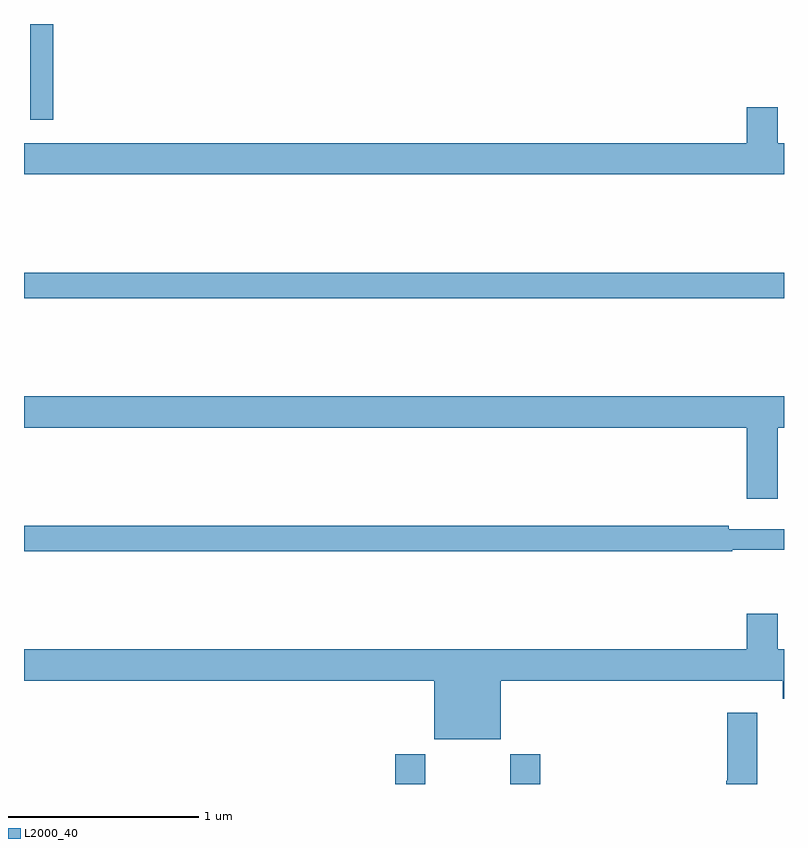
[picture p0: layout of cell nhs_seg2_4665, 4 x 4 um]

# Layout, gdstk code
import gdstk
lib = gdstk.Library(unit=1e-6, precision=1e-09)
def R(c, l, rs):  # rectangles x0, y0, x1, y1
    for r in rs: c.add(gdstk.rectangle(r[:2], r[2:], *l))
def P(c, l, *ps):  # polygons
    for p in ps: c.add(gdstk.Polygon(p, *l))
L2000_40 = (2000, 40)

nhs_seg2_4665 = lib.new_cell('nhs_seg2_4665')
R(nhs_seg2_4665, L2000_40, [(366.953,605.8,367.113,605.956), (367.558,605.8,367.718,605.956), (365,608.356,369,608.492), (365.033,609.297,365.155,609.8)])
P(nhs_seg2_4665, L2000_40, [(369,609.172),(368.968,609.172),(368.968,609.361),(368.804,609.361),(368.804,609.172),(365,609.172),(365,609.008),(369,609.008)],
  [(368.968,607.676),(369,607.676),(369,607.84),(365,607.84),(365,607.676),(368.804,607.676),(368.804,607.302),(368.968,607.302)],
  [(368.728,607.032),(369,607.032),(369,607.141),(368.708,607.141),(368.708,607.16),(365,607.16),(365,607.024),(368.728,607.024)],
  [(367.51,606.344),(368.993,606.344),(368.993,606.248),(369,606.248),(369,606.508),(368.968,606.508),(368.968,606.697),(368.804,606.697),(368.804,606.508),(365,606.508),(365,606.344),(367.16,606.344),(367.16,606.035),(367.51,606.035)],
  [(368.86,606.175),(368.702,606.175),(368.702,605.817),(368.696,605.817),(368.696,605.8),(368.86,605.8)])

lib.write_gds('nhs_seg2_4665.gds')
